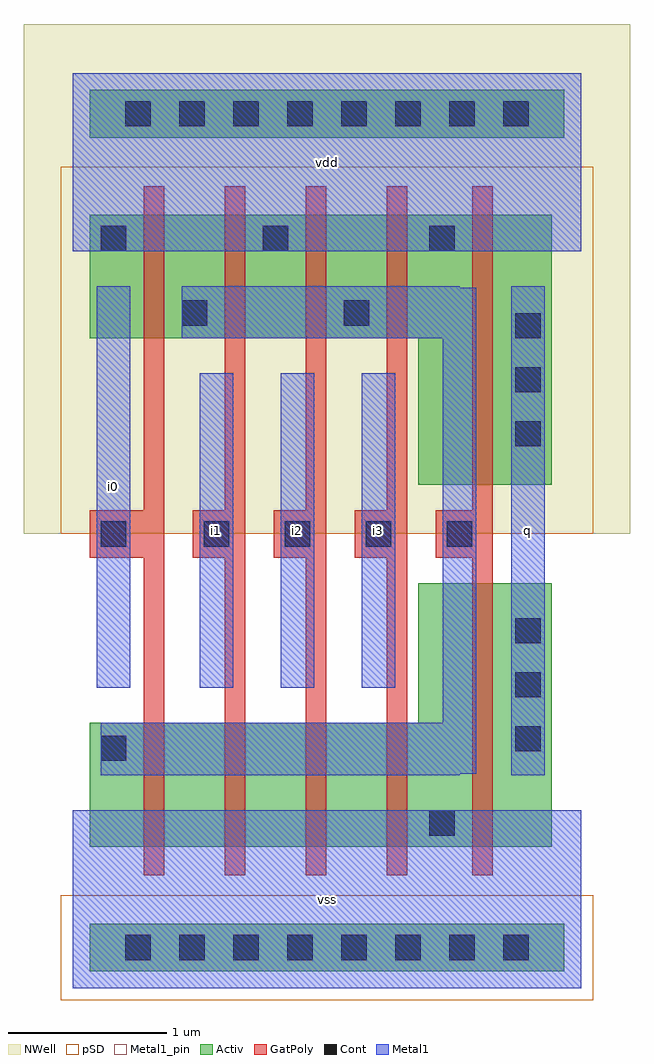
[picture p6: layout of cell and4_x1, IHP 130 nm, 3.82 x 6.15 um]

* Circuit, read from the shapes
.subckt and4_x1 i0 i1 i2 i3 q vdd vss
XM1 n1 i0 n2 vss sg13_lv_nmos w=0.78u l=0.13u
XM2 n3 i1 n1 vss sg13_lv_nmos w=0.78u l=0.13u
XM3 n4 i2 n3 vss sg13_lv_nmos w=0.78u l=0.13u
XM4 vss i3 n4 vss sg13_lv_nmos w=0.78u l=0.13u
XM5 q n2 vss vss sg13_lv_nmos w=1.66u l=0.13u
XM6 n2 i0 vdd vdd sg13_lv_pmos w=0.78u l=0.13u
XM7 vdd i1 n2 vdd sg13_lv_pmos w=0.78u l=0.13u
XM8 n2 i2 vdd vdd sg13_lv_pmos w=0.78u l=0.13u
XM9 vdd i3 n2 vdd sg13_lv_pmos w=0.78u l=0.13u
XM10 q n2 vdd vdd sg13_lv_pmos w=1.7u l=0.13u
.ends

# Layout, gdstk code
import gdstk
lib = gdstk.Library(unit=1e-6, precision=1e-09)
def R(c, l, rs):  # rectangles x0, y0, x1, y1
    for r in rs: c.add(gdstk.rectangle(r[:2], r[2:], *l))
def A(c, l, x, y, w, h, nx, ny, dx, dy):  # array of equal rectangles
    R(c, l, [(x+i*dx, y+j*dy, x+i*dx+w, y+j*dy+h) for i in range(nx) for j in range(ny)])
def P(c, l, *ps):  # polygons
    for p in ps: c.add(gdstk.Polygon(p, *l))
Activ = (1, 0)
GatPoly = (5, 0)
Cont = (6, 0)
Metal1 = (8, 0)
Metal1_pin = (8, 2)
pSD = (14, 0)
NWell = (31, 0)

and4_x1 = lib.new_cell('and4_x1')
P(and4_x1, Activ, [(0.105,0.105),(0.105,0.405),(3.095,0.405),(3.095,0.105),(0.105,0.105)],
  [(2.285,0.89),(2.285,2.55),(2.515,2.55),(2.515,0.89),(2.285,0.89)],
  [(1.465,0.89),(1.465,1.67),(1.595,1.67),(1.595,0.89),(1.465,0.89)],
  [(0.26,0.105),(0.26,0.405),(2.94,0.405),(2.94,0.105),(0.26,0.105)],
  [(0.955,0.89),(0.955,1.67),(1.085,1.67),(1.085,0.89),(0.955,0.89)],
  [(2.175,0.89),(2.175,1.19),(2.475,1.19),(2.475,0.89),(2.175,0.89)],
  [(0.445,0.89),(0.445,1.67),(0.575,1.67),(0.575,0.89),(0.445,0.89)],
  [(1.975,0.89),(1.975,1.67),(2.105,1.67),(2.105,0.89),(1.975,0.89)],
  [(2.515,0.89),(2.515,2.55),(2.645,2.55),(2.645,0.89),(2.515,0.89)],
  [(2.105,0.89),(2.105,1.67),(2.335,1.67),(2.335,0.89),(2.105,0.89)],
  [(2.175,0.89),(2.175,2.55),(2.445,2.55),(2.445,0.89),(2.175,0.89)],
  [(2.175,0.89),(2.175,2.55),(2.475,2.55),(2.475,0.89),(2.175,0.89)],
  [(2.645,3.17),(2.645,4.87),(2.875,4.87),(2.875,3.17),(2.645,3.17)],
  [(2.645,0.89),(2.645,2.55),(2.875,2.55),(2.875,0.89),(2.645,0.89)],
  [(2.715,1.42),(2.715,2.4),(3.015,2.4),(3.015,1.42),(2.715,1.42)],
  [(2.715,3.17),(2.715,4.87),(3.015,4.87),(3.015,3.17),(2.715,3.17)],
  [(2.715,0.89),(2.715,2.55),(3.015,2.55),(3.015,0.89),(2.715,0.89)],
  [(2.715,3.17),(2.715,4.87),(3.015,4.87),(3.015,3.17),(2.715,3.17)],
  [(2.715,0.89),(2.715,2.55),(3.015,2.55),(3.015,0.89),(2.715,0.89)],
  [(2.715,3.34),(2.715,4.32),(3.015,4.32),(3.015,3.34),(2.715,3.34)],
  [(2.105,4.09),(2.105,4.87),(2.335,4.87),(2.335,4.09),(2.105,4.09)],
  [(2.175,3.17),(2.175,4.87),(2.475,4.87),(2.475,3.17),(2.175,3.17)],
  [(2.175,4.57),(2.175,4.87),(2.475,4.87),(2.475,4.57),(2.175,4.57)],
  [(1.125,4.09),(1.125,4.87),(1.425,4.87),(1.425,4.09),(1.125,4.09)],
  [(0.955,4.09),(0.955,4.87),(1.085,4.87),(1.085,4.09),(0.955,4.09)],
  [(2.285,3.17),(2.285,4.87),(2.515,4.87),(2.515,3.17),(2.285,3.17)],
  [(1.235,4.09),(1.235,4.87),(1.465,4.87),(1.465,4.09),(1.235,4.09)],
  [(1.465,4.09),(1.465,4.87),(1.595,4.87),(1.595,4.09),(1.465,4.09)],
  [(2.515,3.17),(2.515,4.87),(2.645,4.87),(2.645,3.17),(2.515,3.17)],
  [(1.085,4.09),(1.085,4.87),(1.315,4.87),(1.315,4.09),(1.085,4.09)],
  [(1.975,4.09),(1.975,4.87),(2.105,4.87),(2.105,4.09),(1.975,4.09)],
  [(0.105,4.57),(0.105,4.87),(0.405,4.87),(0.405,4.57),(0.105,4.57)],
  [(0.105,4.09),(0.105,4.87),(0.405,4.87),(0.405,4.09),(0.105,4.09)],
  [(0.445,4.09),(0.445,4.87),(0.575,4.87),(0.575,4.09),(0.445,4.09)],
  [(1.125,4.57),(1.125,4.87),(1.425,4.87),(1.425,4.57),(1.125,4.57)],
  [(0.215,4.09),(0.215,4.87),(0.445,4.87),(0.445,4.09),(0.215,4.09)],
  [(1.155,4.09),(1.155,4.87),(1.395,4.87),(1.395,4.09),(1.155,4.09)],
  [(2.175,3.17),(2.175,4.87),(2.445,4.87),(2.445,3.17),(2.175,3.17)],
  [(0.26,5.355),(0.26,5.655),(2.94,5.655),(2.94,5.355),(0.26,5.355)],
  [(0.105,5.355),(0.105,5.655),(3.095,5.655),(3.095,5.355),(0.105,5.355)],
  [(0.105,4.09),(0.105,4.87),(0.375,4.87),(0.375,4.09),(0.105,4.09)],
  [(0.575,0.89),(0.575,1.67),(0.805,1.67),(0.805,0.89),(0.575,0.89)],
  [(0.725,0.89),(0.725,1.67),(0.955,1.67),(0.955,0.89),(0.725,0.89)],
  [(0.58,0.89),(0.58,1.67),(0.95,1.67),(0.95,0.89),(0.58,0.89)],
  [(0.645,0.89),(0.645,1.67),(0.885,1.67),(0.885,0.89),(0.645,0.89)],
  [(1.745,0.89),(1.745,1.67),(1.975,1.67),(1.975,0.89),(1.745,0.89)],
  [(1.595,0.89),(1.595,1.67),(1.825,1.67),(1.825,0.89),(1.595,0.89)],
  [(1.665,0.89),(1.665,1.67),(1.905,1.67),(1.905,0.89),(1.665,0.89)],
  [(1.6,0.89),(1.6,1.67),(1.97,1.67),(1.97,0.89),(1.6,0.89)],
  [(1.09,0.89),(1.09,1.67),(1.46,1.67),(1.46,0.89),(1.09,0.89)],
  [(1.235,0.89),(1.235,1.67),(1.465,1.67),(1.465,0.89),(1.235,0.89)],
  [(1.085,0.89),(1.085,1.67),(1.315,1.67),(1.315,0.89),(1.085,0.89)],
  [(1.155,0.89),(1.155,1.67),(1.395,1.67),(1.395,0.89),(1.155,0.89)],
  [(1.635,4.09),(1.635,4.87),(1.935,4.87),(1.935,4.09),(1.635,4.09)],
  [(1.665,4.09),(1.665,4.87),(1.905,4.87),(1.905,4.09),(1.665,4.09)],
  [(0.575,4.09),(0.575,4.87),(0.805,4.87),(0.805,4.09),(0.575,4.09)],
  [(0.105,1.36),(0.105,1.66),(0.405,1.66),(0.405,1.36),(0.105,1.36)],
  [(0.645,4.09),(0.645,4.87),(0.885,4.87),(0.885,4.09),(0.645,4.09)],
  [(0.615,4.1),(0.615,4.4),(0.915,4.4),(0.915,4.1),(0.615,4.1)],
  [(1.745,4.09),(1.745,4.87),(1.975,4.87),(1.975,4.09),(1.745,4.09)],
  [(1.635,4.1),(1.635,4.4),(1.935,4.4),(1.935,4.1),(1.635,4.1)],
  [(0.725,4.09),(0.725,4.87),(0.955,4.87),(0.955,4.09),(0.725,4.09)],
  [(1.595,4.09),(1.595,4.87),(1.825,4.87),(1.825,4.09),(1.595,4.09)],
  [(0.615,4.09),(0.615,4.87),(0.915,4.87),(0.915,4.09),(0.615,4.09)],
  [(0.105,0.89),(0.105,1.67),(0.405,1.67),(0.405,0.89),(0.105,0.89)],
  [(0.105,0.89),(0.105,1.67),(0.375,1.67),(0.375,0.89),(0.105,0.89)],
  [(0.215,0.89),(0.215,1.67),(0.445,1.67),(0.445,0.89),(0.215,0.89)])
P(and4_x1, GatPoly, [(0.445,0.71),(0.445,3.91),(0.575,3.91),(0.575,0.71),(0.445,0.71)],
  [(0.255,2.71),(0.255,3.01),(0.51,3.01),(0.51,2.71),(0.255,2.71)],
  [(0.445,0.71),(0.445,1.85),(0.575,1.85),(0.575,0.71),(0.445,0.71)],
  [(0.105,2.71),(0.105,3.01),(0.405,3.01),(0.405,2.71),(0.105,2.71)],
  [(0.445,3.91),(0.445,5.05),(0.575,5.05),(0.575,3.91),(0.445,3.91)],
  [(0.955,0.71),(0.955,1.85),(1.085,1.85),(1.085,0.71),(0.955,0.71)],
  [(0.905,2.71),(0.905,3.01),(1.02,3.01),(1.02,2.71),(0.905,2.71)],
  [(0.955,0.71),(0.955,3.91),(1.085,3.91),(1.085,0.71),(0.955,0.71)],
  [(0.955,3.91),(0.955,5.05),(1.085,5.05),(1.085,3.91),(0.955,3.91)],
  [(0.755,2.71),(0.755,3.01),(1.055,3.01),(1.055,2.71),(0.755,2.71)],
  [(1.465,0.71),(1.465,1.85),(1.595,1.85),(1.595,0.71),(1.465,0.71)],
  [(1.465,3.91),(1.465,5.05),(1.595,5.05),(1.595,3.91),(1.465,3.91)],
  [(1.465,0.71),(1.465,3.91),(1.595,3.91),(1.595,0.71),(1.465,0.71)],
  [(1.265,2.71),(1.265,3.01),(1.565,3.01),(1.565,2.71),(1.265,2.71)],
  [(1.415,2.71),(1.415,3.01),(1.53,3.01),(1.53,2.71),(1.415,2.71)],
  [(1.975,0.71),(1.975,1.85),(2.105,1.85),(2.105,0.71),(1.975,0.71)],
  [(1.775,2.71),(1.775,3.01),(2.075,3.01),(2.075,2.71),(1.775,2.71)],
  [(1.975,0.71),(1.975,3.91),(2.105,3.91),(2.105,0.71),(1.975,0.71)],
  [(1.925,2.71),(1.925,3.01),(2.04,3.01),(2.04,2.71),(1.925,2.71)],
  [(1.975,3.91),(1.975,5.05),(2.105,5.05),(2.105,3.91),(1.975,3.91)],
  [(2.515,0.71),(2.515,2.99),(2.645,2.99),(2.645,0.71),(2.515,0.71)],
  [(2.515,2.99),(2.515,5.05),(2.645,5.05),(2.645,2.99),(2.515,2.99)],
  [(2.435,2.71),(2.435,3.01),(2.58,3.01),(2.58,2.71),(2.435,2.71)],
  [(2.285,2.71),(2.285,3.01),(2.585,3.01),(2.585,2.71),(2.285,2.71)],
  [(2.515,0.71),(2.515,2.73),(2.645,2.73),(2.645,0.71),(2.515,0.71)])
P(and4_x1, Cont, [(2.245,0.96),(2.245,1.12),(2.405,1.12),(2.405,0.96),(2.245,0.96)],
  [(0.33,0.175),(0.33,0.335),(0.49,0.335),(0.49,0.175),(0.33,0.175)],
  [(0.67,0.175),(0.67,0.335),(0.83,0.335),(0.83,0.175),(0.67,0.175)],
  [(1.01,0.175),(1.01,0.335),(1.17,0.335),(1.17,0.175),(1.01,0.175)],
  [(1.35,0.175),(1.35,0.335),(1.51,0.335),(1.51,0.175),(1.35,0.175)],
  [(1.69,0.175),(1.69,0.335),(1.85,0.335),(1.85,0.175),(1.69,0.175)],
  [(2.03,0.175),(2.03,0.335),(2.19,0.335),(2.19,0.175),(2.03,0.175)],
  [(2.37,0.175),(2.37,0.335),(2.53,0.335),(2.53,0.175),(2.37,0.175)],
  [(2.71,0.175),(2.71,0.335),(2.87,0.335),(2.87,0.175),(2.71,0.175)],
  [(2.785,4.09),(2.785,4.25),(2.945,4.25),(2.945,4.09),(2.785,4.09)],
  [(2.785,3.75),(2.785,3.91),(2.945,3.91),(2.945,3.75),(2.785,3.75)],
  [(2.785,3.41),(2.785,3.57),(2.945,3.57),(2.945,3.41),(2.785,3.41)],
  [(2.785,1.49),(2.785,1.65),(2.945,1.65),(2.945,1.49),(2.785,1.49)],
  [(2.785,1.83),(2.785,1.99),(2.945,1.99),(2.945,1.83),(2.785,1.83)],
  [(2.785,2.17),(2.785,2.33),(2.945,2.33),(2.945,2.17),(2.785,2.17)],
  [(2.71,5.425),(2.71,5.585),(2.87,5.585),(2.87,5.425),(2.71,5.425)],
  [(2.37,5.425),(2.37,5.585),(2.53,5.585),(2.53,5.425),(2.37,5.425)],
  [(2.03,5.425),(2.03,5.585),(2.19,5.585),(2.19,5.425),(2.03,5.425)],
  [(1.69,5.425),(1.69,5.585),(1.85,5.585),(1.85,5.425),(1.69,5.425)],
  [(1.35,5.425),(1.35,5.585),(1.51,5.585),(1.51,5.425),(1.35,5.425)],
  [(1.01,5.425),(1.01,5.585),(1.17,5.585),(1.17,5.425),(1.01,5.425)],
  [(0.67,5.425),(0.67,5.585),(0.83,5.585),(0.83,5.425),(0.67,5.425)],
  [(0.33,5.425),(0.33,5.585),(0.49,5.585),(0.49,5.425),(0.33,5.425)],
  [(2.245,4.64),(2.245,4.8),(2.405,4.8),(2.405,4.64),(2.245,4.64)],
  [(0.175,4.64),(0.175,4.8),(0.335,4.8),(0.335,4.64),(0.175,4.64)],
  [(1.195,4.64),(1.195,4.8),(1.355,4.8),(1.355,4.64),(1.195,4.64)],
  [(0.175,2.78),(0.175,2.94),(0.335,2.94),(0.335,2.78),(0.175,2.78)],
  [(0.825,2.78),(0.825,2.94),(0.985,2.94),(0.985,2.78),(0.825,2.78)],
  [(1.335,2.78),(1.335,2.94),(1.495,2.94),(1.495,2.78),(1.335,2.78)],
  [(1.845,2.78),(1.845,2.94),(2.005,2.94),(2.005,2.78),(1.845,2.78)],
  [(1.705,4.17),(1.705,4.33),(1.865,4.33),(1.865,4.17),(1.705,4.17)],
  [(0.175,1.43),(0.175,1.59),(0.335,1.59),(0.335,1.43),(0.175,1.43)],
  [(0.685,4.17),(0.685,4.33),(0.845,4.33),(0.845,4.17),(0.685,4.17)],
  [(2.355,2.78),(2.355,2.94),(2.515,2.94),(2.515,2.78),(2.355,2.78)])
A(and4_x1, Metal1, 0.8, 1.89, 0.21, 1.98, 3, 1, 0.51, 0)
R(and4_x1, Metal1, [(0,0,3.2,1.12), (2.76,1.34,2.97,4.42), (0.15,1.89,0.36,4.42), (0,4.64,3.2,5.76)])
P(and4_x1, Metal1, [(0.33,0.095),(0.33,0.415),(2.87,0.415),(2.87,0.095),(0.33,0.095)],
  [(0,0),(0,1.12),(3.2,1.12),(3.2,0),(0,0)],
  [(2.165,0.96),(2.165,1.12),(2.485,1.12),(2.485,0.96),(2.165,0.96)],
  [(2.785,1.41),(2.785,2.41),(2.945,2.41),(2.945,1.41),(2.785,1.41)],
  [(2.76,1.34),(2.76,4.42),(2.97,4.42),(2.97,1.34),(2.76,1.34)],
  [(2.785,1.34),(2.785,2.48),(2.945,2.48),(2.945,1.34),(2.785,1.34)],
  [(2.785,3.33),(2.785,4.33),(2.945,4.33),(2.945,3.33),(2.785,3.33)],
  [(2.785,3.24),(2.785,4.42),(2.945,4.42),(2.945,3.24),(2.785,3.24)],
  [(1.115,4.64),(1.115,4.8),(1.435,4.8),(1.435,4.64),(1.115,4.64)],
  [(0,4.64),(0,5.76),(3.2,5.76),(3.2,4.64),(0,4.64)],
  [(0.095,4.64),(0.095,4.8),(0.415,4.8),(0.415,4.64),(0.095,4.64)],
  [(2.165,4.64),(2.165,4.8),(2.485,4.8),(2.485,4.64),(2.165,4.64)],
  [(0.33,5.345),(0.33,5.665),(2.87,5.665),(2.87,5.345),(0.33,5.345)],
  [(0.175,2.7),(0.175,3.02),(0.335,3.02),(0.335,2.7),(0.175,2.7)],
  [(0.15,1.89),(0.15,4.42),(0.36,4.42),(0.36,1.89),(0.15,1.89)],
  [(0.8,1.89),(0.8,3.87),(1.01,3.87),(1.01,1.89),(0.8,1.89)],
  [(0.825,2.7),(0.825,3.02),(0.985,3.02),(0.985,2.7),(0.825,2.7)],
  [(1.31,1.89),(1.31,3.87),(1.52,3.87),(1.52,1.89),(1.31,1.89)],
  [(1.335,2.7),(1.335,3.02),(1.495,3.02),(1.495,2.7),(1.335,2.7)],
  [(1.82,1.89),(1.82,3.87),(2.03,3.87),(2.03,1.89),(1.82,1.89)],
  [(1.845,2.7),(1.845,3.02),(2.005,3.02),(2.005,2.7),(1.845,2.7)],
  [(0.765,4.09),(0.765,4.42),(2.435,4.42),(2.435,4.09),(0.765,4.09)],
  [(1.705,4.09),(1.705,4.42),(1.865,4.42),(1.865,4.09),(1.705,4.09)],
  [(2.33,4.09),(2.33,4.41),(2.54,4.41),(2.54,4.09),(2.33,4.09)],
  [(2.355,2.7),(2.355,3.02),(2.515,3.02),(2.515,2.7),(2.355,2.7)],
  [(0.685,4.09),(0.685,4.41),(0.845,4.41),(0.845,4.09),(0.685,4.09)],
  [(0.685,4.09),(0.685,4.42),(0.845,4.42),(0.845,4.09),(0.685,4.09)],
  [(2.33,1.35),(2.33,1.67),(2.54,1.67),(2.54,1.35),(2.33,1.35)],
  [(2.33,1.35),(2.33,4.41),(2.54,4.41),(2.54,1.35),(2.33,1.35)],
  [(0.175,1.34),(0.175,1.67),(0.335,1.67),(0.335,1.34),(0.175,1.34)],
  [(0.255,1.34),(0.255,1.67),(2.435,1.67),(2.435,1.34),(0.255,1.34)],
  [(0.175,1.35),(0.175,1.67),(0.335,1.67),(0.335,1.35),(0.175,1.35)],
  [(1.705,4.09),(1.705,4.41),(1.865,4.41),(1.865,4.09),(1.705,4.09)])
R(and4_x1, Metal1_pin, [(0,0,3.2,1.12), (0,0,3.2,1.12), (2.76,1.34,2.97,4.42), (2.76,1.34,2.97,4.42), (0.15,1.89,0.36,4.42), (0.15,1.89,0.36,4.42), (0.8,1.89,1.01,3.87), (0.8,1.89,1.01,3.87), (1.31,1.89,1.52,3.87), (1.31,1.89,1.52,3.87), (1.82,1.89,2.03,3.87), (1.82,1.89,2.03,3.87), (0,4.64,3.2,5.76), (0,4.64,3.2,5.76)])
P(and4_x1, pSD, [(1.165,3.79),(1.165,5.17),(1.895,5.17),(1.895,3.79),(1.165,3.79)],
  [(-0.075,3.79),(-0.075,5.17),(0.555,5.17),(0.555,3.79),(-0.075,3.79)],
  [(-0.075,3.79),(-0.075,5.17),(0.585,5.17),(0.585,3.79),(-0.075,3.79)],
  [(0.655,3.79),(0.655,5.17),(1.385,5.17),(1.385,3.79),(0.655,3.79)],
  [(0.435,3.8),(0.435,4.7),(1.095,4.7),(1.095,3.8),(0.435,3.8)],
  [(2.535,3.04),(2.535,4.62),(3.195,4.62),(3.195,3.04),(2.535,3.04)],
  [(0.435,3.79),(0.435,5.17),(1.095,5.17),(1.095,3.79),(0.435,3.79)],
  [(2.535,2.87),(2.535,5.17),(3.195,5.17),(3.195,2.87),(2.535,2.87)],
  [(-0.075,2.86),(-0.075,5.17),(3.275,5.17),(3.275,2.86),(-0.075,2.86)],
  [(0.945,4.27),(0.945,5.17),(1.605,5.17),(1.605,4.27),(0.945,4.27)],
  [(1.995,2.87),(1.995,5.17),(2.625,5.17),(2.625,2.87),(1.995,2.87)],
  [(1.455,3.8),(1.455,4.7),(2.115,4.7),(2.115,3.8),(1.455,3.8)],
  [(1.995,4.27),(1.995,5.17),(2.655,5.17),(2.655,4.27),(1.995,4.27)],
  [(2.215,2.87),(2.215,5.17),(2.945,5.17),(2.945,2.87),(2.215,2.87)],
  [(1.485,3.79),(1.485,5.17),(2.085,5.17),(2.085,3.79),(1.485,3.79)],
  [(2.535,2.87),(2.535,5.17),(3.195,5.17),(3.195,2.87),(2.535,2.87)],
  [(2.105,2.99),(2.105,5.05),(3.055,5.05),(3.055,2.99),(2.105,2.99)],
  [(1.565,3.91),(1.565,5.05),(2.515,5.05),(2.515,3.91),(1.565,3.91)],
  [(1.055,3.91),(1.055,5.05),(2.005,5.05),(2.005,3.91),(1.055,3.91)],
  [(1.995,2.87),(1.995,5.17),(2.655,5.17),(2.655,2.87),(1.995,2.87)],
  [(-0.075,-0.075),(-0.075,0.585),(3.275,0.585),(3.275,-0.075),(-0.075,-0.075)],
  [(0.545,3.91),(0.545,5.05),(1.495,5.05),(1.495,3.91),(0.545,3.91)],
  [(0.975,3.79),(0.975,5.17),(1.575,5.17),(1.575,3.79),(0.975,3.79)],
  [(0.08,-0.075),(0.08,0.585),(3.12,0.585),(3.12,-0.075),(0.08,-0.075)],
  [(0.035,3.91),(0.035,5.05),(0.985,5.05),(0.985,3.91),(0.035,3.91)],
  [(-0.075,4.27),(-0.075,5.17),(0.585,5.17),(0.585,4.27),(-0.075,4.27)],
  [(0.945,3.79),(0.945,5.17),(1.605,5.17),(1.605,3.79),(0.945,3.79)],
  [(1.455,3.79),(1.455,5.17),(2.115,5.17),(2.115,3.79),(1.455,3.79)],
  [(0.145,3.79),(0.145,5.17),(0.875,5.17),(0.875,3.79),(0.145,3.79)],
  [(1.675,3.79),(1.675,5.17),(2.405,5.17),(2.405,3.79),(1.675,3.79)],
  [(0.465,3.79),(0.465,5.17),(1.065,5.17),(1.065,3.79),(0.465,3.79)])
P(and4_x1, NWell, [(1.865,4.26),(1.865,5.18),(2.785,5.18),(2.785,4.26),(1.865,4.26)],
  [(-0.205,5.045),(-0.205,5.965),(3.405,5.965),(3.405,5.045),(-0.205,5.045)],
  [(2.405,2.86),(2.405,5.18),(3.325,5.18),(3.325,2.86),(2.405,2.86)],
  [(1.865,2.86),(1.865,5.18),(2.785,5.18),(2.785,2.86),(1.865,2.86)],
  [(1.435,3.78),(1.435,5.18),(2.645,5.18),(2.645,3.78),(1.435,3.78)],
  [(0.845,3.78),(0.845,5.18),(1.705,5.18),(1.705,3.78),(0.845,3.78)],
  [(0.815,3.78),(0.815,5.18),(1.735,5.18),(1.735,3.78),(0.815,3.78)],
  [(-0.205,3.78),(-0.205,5.18),(0.715,5.18),(0.715,3.78),(-0.205,3.78)],
  [(1.975,2.86),(1.975,5.18),(3.185,5.18),(3.185,2.86),(1.975,2.86)],
  [(1.325,3.79),(1.325,4.71),(2.245,4.71),(2.245,3.79),(1.325,3.79)],
  [(-0.205,4.26),(-0.205,5.18),(0.715,5.18),(0.715,4.26),(-0.205,4.26)],
  [(0.415,3.78),(0.415,5.18),(1.625,5.18),(1.625,3.78),(0.415,3.78)],
  [(1.355,3.78),(1.355,5.18),(2.215,5.18),(2.215,3.78),(1.355,3.78)],
  [(2.405,2.86),(2.405,5.18),(3.325,5.18),(3.325,2.86),(2.405,2.86)],
  [(0.305,3.79),(0.305,4.71),(1.225,4.71),(1.225,3.79),(0.305,3.79)],
  [(0.815,4.26),(0.815,5.18),(1.735,5.18),(1.735,4.26),(0.815,4.26)],
  [(0.925,3.78),(0.925,5.18),(2.135,5.18),(2.135,3.78),(0.925,3.78)],
  [(2.405,3.03),(2.405,4.63),(3.325,4.63),(3.325,3.03),(2.405,3.03)],
  [(1.865,2.86),(1.865,5.18),(2.755,5.18),(2.755,2.86),(1.865,2.86)],
  [(1.325,3.78),(1.325,5.18),(2.245,5.18),(2.245,3.78),(1.325,3.78)],
  [(0.305,3.78),(0.305,5.18),(1.225,5.18),(1.225,3.78),(0.305,3.78)],
  [(0.335,3.78),(0.335,5.18),(1.195,5.18),(1.195,3.78),(0.335,3.78)],
  [(-0.31,2.86),(-0.31,6.07),(3.51,6.07),(3.51,2.86),(-0.31,2.86)],
  [(-0.205,3.78),(-0.205,5.18),(0.685,5.18),(0.685,3.78),(-0.205,3.78)],
  [(-0.095,3.78),(-0.095,5.18),(1.115,5.18),(1.115,3.78),(-0.095,3.78)],
  [(-0.05,5.045),(-0.05,5.965),(3.25,5.965),(3.25,5.045),(-0.05,5.045)])
and4_x1.add(gdstk.Label('vss', (1.6,0.56), layer=8, texttype=25))
and4_x1.add(gdstk.Label('q', (2.865,2.88), layer=8, texttype=25))
and4_x1.add(gdstk.Label('vdd', (1.6,5.2), layer=8, texttype=25))
and4_x1.add(gdstk.Label('i0', (0.255,3.155), layer=8, texttype=25))
and4_x1.add(gdstk.Label('i1', (0.905,2.88), layer=8, texttype=25))
and4_x1.add(gdstk.Label('i2', (1.415,2.88), layer=8, texttype=25))
and4_x1.add(gdstk.Label('i3', (1.925,2.88), layer=8, texttype=25))

lib.write_gds('and4_x1.gds')
